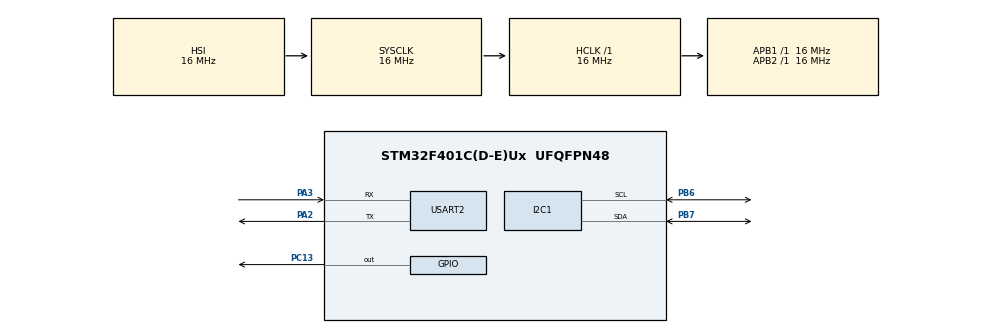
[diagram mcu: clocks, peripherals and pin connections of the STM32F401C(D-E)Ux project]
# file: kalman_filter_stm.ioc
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Mcu.Family=STM32F4
Mcu.Name=STM32F401C(D-E)Ux
Mcu.Package=UFQFPN48
NVIC.PriorityGroup=NVIC_PRIORITYGROUP_4
PA2.Mode=Asynchronous
PA2.Signal=USART2_TX
PA3.Mode=Asynchronous
PA3.Signal=USART2_RX
PB6.GPIO_Pu=GPIO_PULLUP
PB6.Mode=I2C
PB6.Signal=I2C1_SCL
PB7.GPIO_Pu=GPIO_PULLUP
PB7.Mode=I2C
PB7.Signal=I2C1_SDA
PC13-ANTI_TAMP.Signal=GPIO_Output
PH0\ -\ OSC_IN.Mode=HSE-External-Oscillator
PH0\ -\ OSC_IN.Signal=RCC_OSC_IN
PH1\ -\ OSC_OUT.Mode=HSE-External-Oscillator
PH1\ -\ OSC_OUT.Signal=RCC_OSC_OUT
ProjectManager.HeapSize=0x200
ProjectManager.StackSize=0x400
ProjectManager.TargetToolchain=STM32CubeIDE
RCC.AHBFreq_Value=16000000
RCC.APB1Freq_Value=16000000
RCC.APB2Freq_Value=16000000
RCC.CortexFreq_Value=16000000
RCC.HSE_VALUE=25000000
RCC.HSI_VALUE=16000000
RCC.LSE_VALUE=32768
RCC.SYSCLKFreq_VALUE=16000000
RCC.VCOOutputFreq_Value=192000000
USART2.VirtualMode=VM_ASYNC
board=custom

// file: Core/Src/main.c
/* USER CODE BEGIN Header */
/**
  ******************************************************************************
  * @file           : main.c
  * @brief          : Main program body
  ******************************************************************************
  * @attention
  *
  * Copyright (c) 2026 STMicroelectronics.
  * All rights reserved.
  *
  * This software is licensed under terms that can be found in the LICENSE file
  * in the root directory of this software component.
  * If no LICENSE file comes with this software, it is provided AS-IS.
  *
  ******************************************************************************
  */
/* USER CODE END Header */
#include "main.h"

/* USER CODE BEGIN Includes */
#include <stdio.h>
#include <string.h>
#include <math.h>

/* USER CODE END Includes */

/* USER CODE BEGIN PTD */
typedef struct {
    float accel_x, accel_y, accel_z;
    float gyro_x, gyro_y, gyro_z;
    float temp;
} MPU6050_Data;

/* USER CODE END PTD */

/* USER CODE BEGIN PD */
#define MPU6050_ADDR        (0x68 << 1)   // AD0 em GND. Se AD0=VCC, usar 0x69<<1
#define WHO_AM_I_REG        0x75
#define PWR_MGMT_1_REG      0x6B
#define ACCEL_XOUT_H_REG    0x3B
#define GYRO_XOUT_H_REG     0x43
#define TEMP_OUT_H_REG      0x41

#define ACCEL_SENS          16384.0f   // LSB/g para range ±2g (padrao)
#define GYRO_SENS           131.0f     // LSB/(°/s) para range ±250°/s (padrao)

/* USER CODE END PD */

I2C_HandleTypeDef hi2c1;

UART_HandleTypeDef huart2;

/* USER CODE BEGIN PV */

MPU6050_Data sensorData;

/* USER CODE END PV */

void SystemClock_Config(void);
static void MX_GPIO_Init(void);
static void MX_I2C1_Init(void);
static void MX_USART2_UART_Init(void);

/* USER CODE BEGIN PFP */
uint8_t MPU6050_Init(void);
void MPU6050_ReadAll(MPU6050_Data *out);

/* USER CODE END PFP */

int main(void)
{

  /* MCU Configuration--------------------------------------------------------*/

  /* Reset of all peripherals, Initializes the Flash interface and the Systick. */
  HAL_Init();

  /* Configure the system clock */
  SystemClock_Config();

  /* Initialize all configured peripherals */
  MX_GPIO_Init();
  MX_I2C1_Init();
  MX_USART2_UART_Init();

  /* USER CODE BEGIN 2 */
  uint8_t mpu_ok = MPU6050_Init();
    char msg[120];

    if (!mpu_ok)
    {
        char err[] = "Erro: MPU6050 nao respondeu via I2C.\r\n";
        HAL_UART_Transmit(&huart2, (uint8_t*)err, strlen(err), 100);
    }

  /* USER CODE END 2 */

  /* Infinite loop */
  /* USER CODE BEGIN WHILE */
    while (1)
      {
        if (mpu_ok)
        {
            MPU6050_ReadAll(&sensorData);

            float acc_roll = atan2f(sensorData.accel_y, sensorData.accel_z);
            float gyr_roll = sensorData.gyro_x * (float)M_PI / 180.0f;

            // print direto no console da IDE
            //		i) Python pode ler serial e rodar filtro de Kalman lá
            //		ii) implementar filtro de Kalman interno
            sprintf(msg, "%.6f,%.6f\r\n", gyro_roll, roll_acc);

            HAL_UART_Transmit(&huart2, (uint8_t*)msg, strlen(msg), 100);

            HAL_GPIO_TogglePin(GPIOC, GPIO_PIN_13);
        }

        HAL_Delay(200);
        /* USER CODE END WHILE */

      }
}

void SystemClock_Config(void)
{
  RCC_OscInitTypeDef RCC_OscInitStruct = {0};
  RCC_ClkInitTypeDef RCC_ClkInitStruct = {0};

  /** Configure the main internal regulator output voltage
  */
  __HAL_RCC_PWR_CLK_ENABLE();
  __HAL_PWR_VOLTAGESCALING_CONFIG(PWR_REGULATOR_VOLTAGE_SCALE2);

  /** Initializes the RCC Oscillators according to the specified parameters
  * in the RCC_OscInitTypeDef structure.
  */
  RCC_OscInitStruct.OscillatorType = RCC_OSCILLATORTYPE_HSI;
  RCC_OscInitStruct.HSIState = RCC_HSI_ON;
  RCC_OscInitStruct.HSICalibrationValue = RCC_HSICALIBRATION_DEFAULT;
  RCC_OscInitStruct.PLL.PLLState = RCC_PLL_NONE;
  if (HAL_RCC_OscConfig(&RCC_OscInitStruct) != HAL_OK)
  {
    Error_Handler();
  }

  /** Initializes the CPU, AHB and APB buses clocks
  */
  RCC_ClkInitStruct.ClockType = RCC_CLOCKTYPE_HCLK|RCC_CLOCKTYPE_SYSCLK
                              |RCC_CLOCKTYPE_PCLK1|RCC_CLOCKTYPE_PCLK2;
  RCC_ClkInitStruct.SYSCLKSource = RCC_SYSCLKSOURCE_HSI;
  RCC_ClkInitStruct.AHBCLKDivider = RCC_SYSCLK_DIV1;
  RCC_ClkInitStruct.APB1CLKDivider = RCC_HCLK_DIV1;
  RCC_ClkInitStruct.APB2CLKDivider = RCC_HCLK_DIV1;

  if (HAL_RCC_ClockConfig(&RCC_ClkInitStruct, FLASH_LATENCY_0) != HAL_OK)
  {
    Error_Handler();
  }
}

static void MX_I2C1_Init(void)
{

  hi2c1.Instance = I2C1;
  hi2c1.Init.ClockSpeed = 100000;
  hi2c1.Init.DutyCycle = I2C_DUTYCYCLE_2;
  hi2c1.Init.OwnAddress1 = 0;
  hi2c1.Init.AddressingMode = I2C_ADDRESSINGMODE_7BIT;
  hi2c1.Init.DualAddressMode = I2C_DUALADDRESS_DISABLE;
  hi2c1.Init.OwnAddress2 = 0;
  hi2c1.Init.GeneralCallMode = I2C_GENERALCALL_DISABLE;
  hi2c1.Init.NoStretchMode = I2C_NOSTRETCH_DISABLE;
  if (HAL_I2C_Init(&hi2c1) != HAL_OK)
  {
    Error_Handler();
  }

}

static void MX_USART2_UART_Init(void)
{

  huart2.Instance = USART2;
  huart2.Init.BaudRate = 115200;
  huart2.Init.WordLength = UART_WORDLENGTH_8B;
  huart2.Init.StopBits = UART_STOPBITS_1;
  huart2.Init.Parity = UART_PARITY_NONE;
  huart2.Init.Mode = UART_MODE_TX_RX;
  huart2.Init.HwFlowCtl = UART_HWCONTROL_NONE;
  huart2.Init.OverSampling = UART_OVERSAMPLING_16;
  if (HAL_UART_Init(&huart2) != HAL_OK)
  {
    Error_Handler();
  }

}

static void MX_GPIO_Init(void)
{
  GPIO_InitTypeDef GPIO_InitStruct = {0};

  /* GPIO Ports Clock Enable */
  __HAL_RCC_GPIOC_CLK_ENABLE();
  __HAL_RCC_GPIOH_CLK_ENABLE();
  __HAL_RCC_GPIOA_CLK_ENABLE();
  __HAL_RCC_GPIOB_CLK_ENABLE();

  /*Configure GPIO pin Output Level */
  HAL_GPIO_WritePin(GPIOC, GPIO_PIN_13, GPIO_PIN_RESET);

  /*Configure GPIO pin : PC13 */
  GPIO_InitStruct.Pin = GPIO_PIN_13;
  GPIO_InitStruct.Mode = GPIO_MODE_OUTPUT_PP;
  GPIO_InitStruct.Pull = GPIO_NOPULL;
  GPIO_InitStruct.Speed = GPIO_SPEED_FREQ_LOW;
  HAL_GPIO_Init(GPIOC, &GPIO_InitStruct);

}

/* USER CODE BEGIN 4 */
uint8_t MPU6050_Init(void)
{
    uint8_t check, data;
    HAL_StatusTypeDef status;

    // Confirma comunicação lendo o registrador WHO_AM_I (deve retornar 0x68)
    status = HAL_I2C_Mem_Read(&hi2c1, MPU6050_ADDR, WHO_AM_I_REG,
                               I2C_MEMADD_SIZE_8BIT, &check, 1, 1000);

    if (status != HAL_OK || check != 0x68)
    {
        return 0; // falha na comunicação
    }

    // Tira o sensor do modo sleep (bit 6 do PWR_MGMT_1 = 0)
    data = 0x00;
    HAL_I2C_Mem_Write(&hi2c1, MPU6050_ADDR, PWR_MGMT_1_REG,
                       I2C_MEMADD_SIZE_8BIT, &data, 1, 1000);

    return 1; // sucesso
}

void MPU6050_ReadAll(MPU6050_Data *out)
{
    uint8_t rawData[14];

    // Le 14 bytes de uma vez: accel(6) + temp(2) + gyro(6), sequencia contínua no MPU6050
    HAL_I2C_Mem_Read(&hi2c1, MPU6050_ADDR, ACCEL_XOUT_H_REG,
                      I2C_MEMADD_SIZE_8BIT, rawData, 14, 1000);

    int16_t accel_x_raw = (int16_t)(rawData[0] << 8 | rawData[1]);
    int16_t accel_y_raw = (int16_t)(rawData[2] << 8 | rawData[3]);
    int16_t accel_z_raw = (int16_t)(rawData[4] << 8 | rawData[5]);

    int16_t temp_raw    = (int16_t)(rawData[6] << 8 | rawData[7]);

    int16_t gyro_x_raw  = (int16_t)(rawData[8] << 8 | rawData[9]);
    int16_t gyro_y_raw  = (int16_t)(rawData[10] << 8 | rawData[11]);
    int16_t gyro_z_raw  = (int16_t)(rawData[12] << 8 | rawData[13]);

    out->accel_x = accel_x_raw / ACCEL_SENS;
    out->accel_y = accel_y_raw / ACCEL_SENS;
    out->accel_z = accel_z_raw / ACCEL_SENS;

    out->gyro_x = gyro_x_raw / GYRO_SENS;
    out->gyro_y = gyro_y_raw / GYRO_SENS;
    out->gyro_z = gyro_z_raw / GYRO_SENS;

    out->temp = (temp_raw / 340.0f) + 36.53f;  // formula do datasheet
}
/* USER CODE END 4 */

void Error_Handler(void)
{
  __disable_irq();
  while (1)
  {
  }
}
